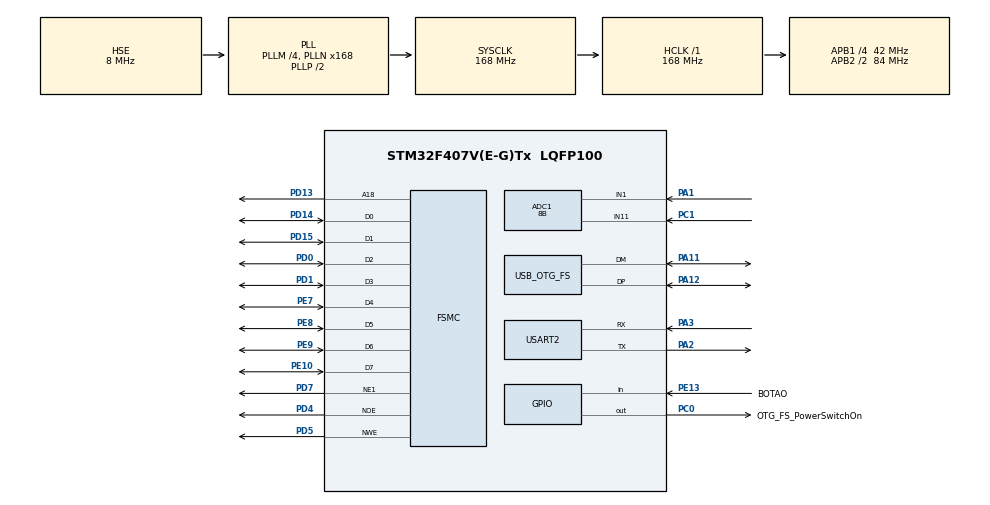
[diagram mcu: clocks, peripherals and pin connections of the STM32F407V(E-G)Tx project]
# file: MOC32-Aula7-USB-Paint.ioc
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ADC1.Channel-2\#ChannelRegularConversion=ADC_CHANNEL_1
ADC1.Channel-4\#ChannelRegularConversion=ADC_CHANNEL_11
ADC1.ClockPrescaler=ADC_CLOCK_SYNC_PCLK_DIV4
ADC1.NbrOfConversion=2
ADC1.NbrOfConversionFlag=1
ADC1.Rank-2\#ChannelRegularConversion=1
ADC1.Rank-4\#ChannelRegularConversion=2
ADC1.Resolution=ADC_RESOLUTION_8B
ADC1.SamplingTime-2\#ChannelRegularConversion=ADC_SAMPLETIME_480CYCLES
ADC1.SamplingTime-4\#ChannelRegularConversion=ADC_SAMPLETIME_480CYCLES
ADC1.master=1
FSMC.AddressSetupTime1=6
FSMC.BusTurnAroundDuration1=15
FSMC.DataSetupTime1=6
Mcu.Family=STM32F4
Mcu.Name=STM32F407V(E-G)Tx
Mcu.Package=LQFP100
NVIC.OTG_FS_IRQn=true\:0\:0\:false\:false\:true\:false\:true\:true
NVIC.PriorityGroup=NVIC_PRIORITYGROUP_4
PA1.Signal=ADCx_IN1
PA11.Mode=Host_Only
PA11.Signal=USB_OTG_FS_DM
PA12.Mode=Host_Only
PA12.Signal=USB_OTG_FS_DP
PA2.Mode=Asynchronous
PA2.Signal=USART2_TX
PA3.Mode=Asynchronous
PA3.Signal=USART2_RX
PC0.GPIO_Label=OTG_FS_PowerSwitchOn
PC0.Signal=GPIO_Output
PC1.Signal=ADCx_IN11
PD0.Mode=8b-d1
PD0.Signal=FSMC_D2
PD1.Mode=8b-d1
PD1.Signal=FSMC_D3
PD13.Mode=A18_1
PD13.Signal=FSMC_A18
PD14.Mode=8b-d1
PD14.Signal=FSMC_D0
PD15.Mode=8b-d1
PD15.Signal=FSMC_D1
PD4.Mode=Lcd1
PD4.Signal=FSMC_NOE
PD5.Mode=Lcd1
PD5.Signal=FSMC_NWE
PD7.Mode=NorPsramChipSelect1_1
PD7.Signal=FSMC_NE1
PE10.Mode=8b-d1
PE10.Signal=FSMC_D7
PE13.GPIO_Label=BOTAO
PE13.GPIO_PuPd=GPIO_PULLUP
PE13.Signal=GPIO_Input
PE7.Mode=8b-d1
PE7.Signal=FSMC_D4
PE8.Mode=8b-d1
PE8.Signal=FSMC_D5
PE9.Mode=8b-d1
PE9.Signal=FSMC_D6
PH0-OSC_IN.Mode=HSE-External-Oscillator
PH0-OSC_IN.Signal=RCC_OSC_IN
PH1-OSC_OUT.Mode=HSE-External-Oscillator
PH1-OSC_OUT.Signal=RCC_OSC_OUT
ProjectManager.HeapSize=0x200
ProjectManager.StackSize=0x400
ProjectManager.TargetToolchain=STM32CubeIDE
RCC.48MHZClocksFreq_Value=48000000
RCC.AHBFreq_Value=168000000
RCC.APB1CLKDivider=RCC_HCLK_DIV4
RCC.APB1Freq_Value=42000000
RCC.APB1TimFreq_Value=84000000
RCC.APB2CLKDivider=RCC_HCLK_DIV2
RCC.APB2Freq_Value=84000000
RCC.APB2TimFreq_Value=168000000
RCC.CortexFreq_Value=168000000
RCC.HCLKFreq_Value=168000000
RCC.HSE_VALUE=8000000
RCC.HSI_VALUE=16000000
RCC.LSE_VALUE=32768
RCC.PLLM=4
RCC.PLLN=168
RCC.PLLQ=7
RCC.SYSCLKFreq_VALUE=168000000
RCC.SYSCLKSource=RCC_SYSCLKSOURCE_PLLCLK
RCC.VCOOutputFreq_Value=336000000
SH.ADCx_IN1.0=ADC1_IN1,IN1
SH.ADCx_IN11.0=ADC1_IN11,IN11
USART2.VirtualMode=VM_ASYNC
USB_HOST.USBH_HandleTypeDef-HID_FS=hUsbHostFS
USB_HOST.VirtualModeFS=Hid
USB_OTG_FS.VirtualMode=Host_Only
USB_OTG_FS.phy_itface=HCD_PHY_EMBEDDED
VP_USB_HOST_VS_USB_HOST_HID_FS.Mode=HID_FS
board=custom

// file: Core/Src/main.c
/* USER CODE BEGIN Header */
/**
  ******************************************************************************
  * @file           : main.c
  * @brief          : Main program body
  ******************************************************************************
  * @attention
  *
  * Copyright (c) 2023 STMicroelectronics.
  * All rights reserved.
  *
  * This software is licensed under terms that can be found in the LICENSE file
  * in the root directory of this software component.
  * If no LICENSE file comes with this software, it is provided AS-IS.
  *
  ******************************************************************************
  */
/* USER CODE END Header */
#include "main.h"
#include "usb_host.h"

/* USER CODE BEGIN Includes */
#include "ili9341.h"
#include "common.h"
#include "fonts.h"
#include "lcd.h"
#include "math.h"
#include <stdbool.h>
#include <usbh_hid.h>

/* USER CODE END Includes */

/* USER CODE BEGIN PD */
#define MOUSE_SCALE	1.0f
/* USER CODE END PD */

ADC_HandleTypeDef hadc1;

UART_HandleTypeDef huart2;

SRAM_HandleTypeDef hsram1;

/* USER CODE BEGIN PV */
extern const unsigned short paint_resize[76800];
char Uart_buf[100];
uint16_t x_cursor=160;
uint16_t y_cursor=120;
uint16_t x_old=160;
uint16_t y_old=120;
unsigned short screen[76800];
/* USER CODE END PV */

void SystemClock_Config(void);
static void MX_GPIO_Init(void);
static void MX_ADC1_Init(void);
static void MX_FSMC_Init(void);
static void MX_USART2_UART_Init(void);
void MX_USB_HOST_Process(void);

/* USER CODE BEGIN PFP */
void desenha_cursor(uint16_t x, uint16_t y);
void apaga_cursor(uint16_t x, uint16_t y);
/* USER CODE END PFP */

int main(void)
{

  /* MCU Configuration--------------------------------------------------------*/

  /* Reset of all peripherals, Initializes the Flash interface and the Systick. */
  HAL_Init();

  /* Configure the system clock */
  SystemClock_Config();

  /* Initialize all configured peripherals */
  MX_GPIO_Init();
  MX_ADC1_Init();
  MX_FSMC_Init();
  MX_USB_HOST_Init();
  MX_USART2_UART_Init();
  /* USER CODE BEGIN 2 */
  ili9341_Init();
  ili9341_DrawRGBImage(0, 0, 320, 240, paint_resize);
  HAL_GPIO_WritePin(OTG_FS_PowerSwitchOn_GPIO_Port, OTG_FS_PowerSwitchOn_Pin, GPIO_PIN_RESET);
//  ili9341_DrawTriangle(160, 120, 160, 137, 172, 132, COLOR_BLACK);
//  ili9341_DrawLine(165, 135, 167, 140, COLOR_BLACK);
//  ili9341_DrawLine(167, 140, 170, 138, COLOR_BLACK);
//  ili9341_DrawLine(170, 138, 168, 133, COLOR_BLACK);
  desenha_cursor(x_cursor,y_cursor);
  /* USER CODE END 2 */

  /* Infinite loop */
  while (1)
  {
    MX_USB_HOST_Process();

  }
}

void SystemClock_Config(void)
{
  RCC_OscInitTypeDef RCC_OscInitStruct = {0};
  RCC_ClkInitTypeDef RCC_ClkInitStruct = {0};

  /** Configure the main internal regulator output voltage
  */
  __HAL_RCC_PWR_CLK_ENABLE();
  __HAL_PWR_VOLTAGESCALING_CONFIG(PWR_REGULATOR_VOLTAGE_SCALE1);

  /** Initializes the RCC Oscillators according to the specified parameters
  * in the RCC_OscInitTypeDef structure.
  */
  RCC_OscInitStruct.OscillatorType = RCC_OSCILLATORTYPE_HSE;
  RCC_OscInitStruct.HSEState = RCC_HSE_ON;
  RCC_OscInitStruct.PLL.PLLState = RCC_PLL_ON;
  RCC_OscInitStruct.PLL.PLLSource = RCC_PLLSOURCE_HSE;
  RCC_OscInitStruct.PLL.PLLM = 4;
  RCC_OscInitStruct.PLL.PLLN = 168;
  RCC_OscInitStruct.PLL.PLLP = RCC_PLLP_DIV2;
  RCC_OscInitStruct.PLL.PLLQ = 7;
  if (HAL_RCC_OscConfig(&RCC_OscInitStruct) != HAL_OK)
  {
    Error_Handler();
  }

  /** Initializes the CPU, AHB and APB buses clocks
  */
  RCC_ClkInitStruct.ClockType = RCC_CLOCKTYPE_HCLK|RCC_CLOCKTYPE_SYSCLK
                              |RCC_CLOCKTYPE_PCLK1|RCC_CLOCKTYPE_PCLK2;
  RCC_ClkInitStruct.SYSCLKSource = RCC_SYSCLKSOURCE_PLLCLK;
  RCC_ClkInitStruct.AHBCLKDivider = RCC_SYSCLK_DIV1;
  RCC_ClkInitStruct.APB1CLKDivider = RCC_HCLK_DIV4;
  RCC_ClkInitStruct.APB2CLKDivider = RCC_HCLK_DIV2;

  if (HAL_RCC_ClockConfig(&RCC_ClkInitStruct, FLASH_LATENCY_5) != HAL_OK)
  {
    Error_Handler();
  }
}

static void MX_ADC1_Init(void)
{

  ADC_ChannelConfTypeDef sConfig = {0};

  /** Configure the global features of the ADC (Clock, Resolution, Data Alignment and number of conversion)
  */
  hadc1.Instance = ADC1;
  hadc1.Init.ClockPrescaler = ADC_CLOCK_SYNC_PCLK_DIV4;
  hadc1.Init.Resolution = ADC_RESOLUTION_8B;
  hadc1.Init.ScanConvMode = ENABLE;
  hadc1.Init.ContinuousConvMode = DISABLE;
  hadc1.Init.DiscontinuousConvMode = DISABLE;
  hadc1.Init.ExternalTrigConvEdge = ADC_EXTERNALTRIGCONVEDGE_NONE;
  hadc1.Init.ExternalTrigConv = ADC_SOFTWARE_START;
  hadc1.Init.DataAlign = ADC_DATAALIGN_RIGHT;
  hadc1.Init.NbrOfConversion = 2;
  hadc1.Init.DMAContinuousRequests = DISABLE;
  hadc1.Init.EOCSelection = ADC_EOC_SINGLE_CONV;
  if (HAL_ADC_Init(&hadc1) != HAL_OK)
  {
    Error_Handler();
  }

  /** Configure for the selected ADC regular channel its corresponding rank in the sequencer and its sample time.
  */
  sConfig.Channel = ADC_CHANNEL_1;
  sConfig.Rank = 1;
  sConfig.SamplingTime = ADC_SAMPLETIME_480CYCLES;
  if (HAL_ADC_ConfigChannel(&hadc1, &sConfig) != HAL_OK)
  {
    Error_Handler();
  }

  /** Configure for the selected ADC regular channel its corresponding rank in the sequencer and its sample time.
  */
  sConfig.Channel = ADC_CHANNEL_11;
  sConfig.Rank = 2;
  if (HAL_ADC_ConfigChannel(&hadc1, &sConfig) != HAL_OK)
  {
    Error_Handler();
  }

}

static void MX_USART2_UART_Init(void)
{

  huart2.Instance = USART2;
  huart2.Init.BaudRate = 115200;
  huart2.Init.WordLength = UART_WORDLENGTH_8B;
  huart2.Init.StopBits = UART_STOPBITS_1;
  huart2.Init.Parity = UART_PARITY_NONE;
  huart2.Init.Mode = UART_MODE_TX_RX;
  huart2.Init.HwFlowCtl = UART_HWCONTROL_NONE;
  huart2.Init.OverSampling = UART_OVERSAMPLING_16;
  if (HAL_UART_Init(&huart2) != HAL_OK)
  {
    Error_Handler();
  }

}

static void MX_GPIO_Init(void)
{
  GPIO_InitTypeDef GPIO_InitStruct = {0};

  /* GPIO Ports Clock Enable */
  __HAL_RCC_GPIOH_CLK_ENABLE();
  __HAL_RCC_GPIOC_CLK_ENABLE();
  __HAL_RCC_GPIOA_CLK_ENABLE();
  __HAL_RCC_GPIOE_CLK_ENABLE();
  __HAL_RCC_GPIOD_CLK_ENABLE();

  /*Configure GPIO pin Output Level */
  HAL_GPIO_WritePin(OTG_FS_PowerSwitchOn_GPIO_Port, OTG_FS_PowerSwitchOn_Pin, GPIO_PIN_RESET);

  /*Configure GPIO pin : OTG_FS_PowerSwitchOn_Pin */
  GPIO_InitStruct.Pin = OTG_FS_PowerSwitchOn_Pin;
  GPIO_InitStruct.Mode = GPIO_MODE_OUTPUT_PP;
  GPIO_InitStruct.Pull = GPIO_NOPULL;
  GPIO_InitStruct.Speed = GPIO_SPEED_FREQ_LOW;
  HAL_GPIO_Init(OTG_FS_PowerSwitchOn_GPIO_Port, &GPIO_InitStruct);

  /*Configure GPIO pin : BOTAO_Pin */
  GPIO_InitStruct.Pin = BOTAO_Pin;
  GPIO_InitStruct.Mode = GPIO_MODE_INPUT;
  GPIO_InitStruct.Pull = GPIO_PULLUP;
  HAL_GPIO_Init(BOTAO_GPIO_Port, &GPIO_InitStruct);

}

/* FSMC initialization function */
static void MX_FSMC_Init(void)
{

  FSMC_NORSRAM_TimingTypeDef Timing = {0};

  /** Perform the SRAM1 memory initialization sequence
  */
  hsram1.Instance = FSMC_NORSRAM_DEVICE;
  hsram1.Extended = FSMC_NORSRAM_EXTENDED_DEVICE;
  /* hsram1.Init */
  hsram1.Init.NSBank = FSMC_NORSRAM_BANK1;
  hsram1.Init.DataAddressMux = FSMC_DATA_ADDRESS_MUX_DISABLE;
  hsram1.Init.MemoryType = FSMC_MEMORY_TYPE_SRAM;
  hsram1.Init.MemoryDataWidth = FSMC_NORSRAM_MEM_BUS_WIDTH_8;
  hsram1.Init.BurstAccessMode = FSMC_BURST_ACCESS_MODE_DISABLE;
  hsram1.Init.WaitSignalPolarity = FSMC_WAIT_SIGNAL_POLARITY_LOW;
  hsram1.Init.WrapMode = FSMC_WRAP_MODE_DISABLE;
  hsram1.Init.WaitSignalActive = FSMC_WAIT_TIMING_BEFORE_WS;
  hsram1.Init.WriteOperation = FSMC_WRITE_OPERATION_ENABLE;
  hsram1.Init.WaitSignal = FSMC_WAIT_SIGNAL_DISABLE;
  hsram1.Init.ExtendedMode = FSMC_EXTENDED_MODE_DISABLE;
  hsram1.Init.AsynchronousWait = FSMC_ASYNCHRONOUS_WAIT_DISABLE;
  hsram1.Init.WriteBurst = FSMC_WRITE_BURST_DISABLE;
  hsram1.Init.PageSize = FSMC_PAGE_SIZE_NONE;
  /* Timing */
  Timing.AddressSetupTime = 6;
  Timing.AddressHoldTime = 15;
  Timing.DataSetupTime = 6;
  Timing.BusTurnAroundDuration = 15;
  Timing.CLKDivision = 16;
  Timing.DataLatency = 17;
  Timing.AccessMode = FSMC_ACCESS_MODE_A;
  /* ExtTiming */

  if (HAL_SRAM_Init(&hsram1, &Timing, NULL) != HAL_OK)
  {
    Error_Handler( );
  }

}

/* USER CODE BEGIN 4 */
void USBH_HID_EventCallback(USBH_HandleTypeDef *phost)
{
	if(USBH_HID_GetDeviceType(phost) == HID_MOUSE)
	{
		HID_MOUSE_Info_TypeDef *Mouse_Info;
		Mouse_Info = USBH_HID_GetMouseInfo(phost);
		int X_Val = Mouse_Info->x;
		int Y_Val = Mouse_Info->y;
		if(X_Val > 127) X_Val -= 255;
		if(Y_Val > 127) Y_Val -= 255;
		int len = sprintf(Uart_buf, "X=%d, Y=%d, Button1=%d, Button2=%d, Button3=%d\r\n", X_Val, Y_Val, Mouse_Info->buttons[0], Mouse_Info->buttons[1], Mouse_Info->buttons[2]);
		HAL_UART_Transmit(&huart2, (uint8_t *)Uart_buf, len, 1000);

		apaga_cursor(x_old, y_old);
		x_cursor=x_cursor+(int)(X_Val*MOUSE_SCALE);
		y_cursor=y_cursor+(int)(Y_Val*MOUSE_SCALE);
		desenha_cursor(x_cursor, y_cursor);
		x_old=x_cursor;
		y_old=y_cursor;

		if(Mouse_Info->buttons[0]==1&Mouse_Info->buttons[1]==0&Mouse_Info->buttons[2]==0) // botao direito
		{
			ili9341_WritePixel(x_cursor-1, y_cursor-1, COLOR_RED);
		}
		if(Mouse_Info->buttons[0]==0&Mouse_Info->buttons[1]==1&Mouse_Info->buttons[2]==0) // botao esquerdo
		{
			ili9341_WritePixel(x_cursor-1, y_cursor-1, COLOR_BLUE);
		}
		if(Mouse_Info->buttons[0]==0&Mouse_Info->buttons[1]==0&Mouse_Info->buttons[2]==1) // scroll pressionado
		{
			ili9341_DrawRGBImage(0, 0, 320, 240, paint_resize);
			desenha_cursor(x_cursor, y_cursor);
		}
		if(Mouse_Info->buttons[0]==1&Mouse_Info->buttons[1]==1&Mouse_Info->buttons[2]==0) // botao esquerdo
		{
			ili9341_WritePixel(x_cursor-1, y_cursor-1, COLOR_GREEN);
		}

	}

}
void desenha_cursor(uint16_t x, uint16_t y)
{
	ili9341_DrawTriangle(x, y, x, y+17, x+12, y+12, COLOR_BLACK);
	ili9341_DrawLine(x+5, y+15, x+7, y+20, COLOR_BLACK);
	ili9341_DrawLine(x+7, y+20, x+10, y+18, COLOR_BLACK);
	ili9341_DrawLine(x+10, y+18, x+8, y+13, COLOR_BLACK);
}
void apaga_cursor(uint16_t x, uint16_t y)
{
	ili9341_DrawTriangle(x, y, x, y+17, x+12, y+12, COLOR_WHITE);
	ili9341_DrawLine(x+5, y+15, x+7, y+20, COLOR_WHITE);
	ili9341_DrawLine(x+7, y+20, x+10, y+18, COLOR_WHITE);
	ili9341_DrawLine(x+10, y+18, x+8, y+13, COLOR_WHITE);
}
/* USER CODE END 4 */

void Error_Handler(void)
{
  __disable_irq();
  while (1)
  {
  }
}
